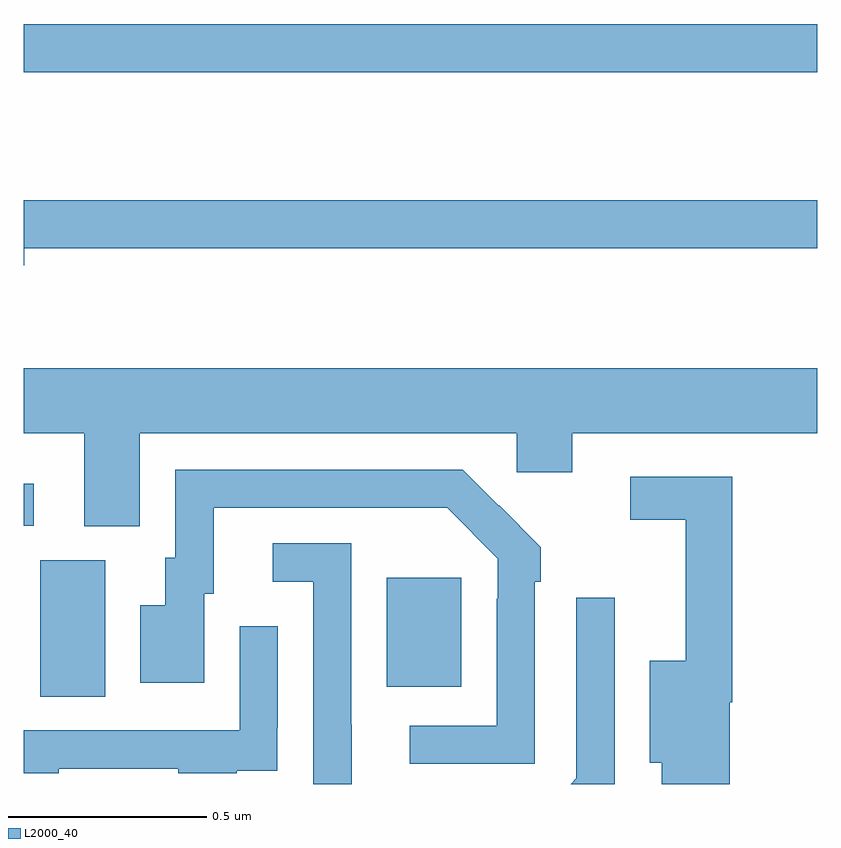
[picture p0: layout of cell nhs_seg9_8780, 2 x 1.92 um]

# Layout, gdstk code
import gdstk
lib = gdstk.Library(unit=1e-6, precision=1e-09)
def R(c, l, rs):  # rectangles x0, y0, x1, y1
    for r in rs: c.add(gdstk.rectangle(r[:2], r[2:], *l))
def P(c, l, *ps):  # polygons
    for p in ps: c.add(gdstk.Polygon(p, *l))
L2000_40 = (2000, 40)

nhs_seg9_8780 = lib.new_cell('nhs_seg9_8780')
R(nhs_seg9_8780, L2000_40, [(221.042,1231.72,221.206,1232.064), (221.915,1231.745,222.103,1232.02), (221,1232.151,221.026,1232.257), (221,1233.294,223,1233.415)])
P(nhs_seg9_8780, L2000_40, [(221.002,1232.85),(223,1232.85),(223,1232.971),(221,1232.971),(221,1232.807),(221.002,1232.807)],
  [(221.293,1232.384),(222.243,1232.384),(222.243,1232.286),(222.382,1232.286),(222.382,1232.384),(223,1232.384),(223,1232.548),(221,1232.548),(221,1232.384),(221.153,1232.384),(221.153,1232.149),(221.293,1232.149)],
  [(222.288,1232.009),(222.303,1232.009),(222.303,1232.097),(222.198,1232.202),(222.197,1232.201),(222.106,1232.292),(221.382,1232.292),(221.382,1232.07),(221.357,1232.07),(221.357,1231.951),(221.294,1231.951),(221.294,1231.755),(221.455,1231.755),(221.455,1231.98),(221.479,1231.98),(221.479,1232.196),(222.067,1232.196),(222.195,1232.067),(222.195,1231.967),(222.192,1231.967),(222.192,1231.647),(221.973,1231.647),(221.973,1231.551),(222.288,1231.551)],
  [(222.779,1231.706),(222.785,1231.706),(222.785,1232.274),(222.528,1232.274),(222.528,1232.166),(222.668,1232.166),(222.668,1231.81),(222.578,1231.81),(222.578,1231.553),(222.608,1231.553),(222.608,1231.5),(222.779,1231.5)],
  [(221.827,1231.649),(221.826,1231.649),(221.826,1232.106),(221.628,1232.106),(221.628,1232.01),(221.73,1232.01),(221.73,1231.5),(221.827,1231.5)],
  [(222.489,1231.969),(222.393,1231.969),(222.393,1231.515),(222.378,1231.5),(222.489,1231.5)],
  [(221.089,1231.539),(221.389,1231.539),(221.389,1231.527),(221.537,1231.527),(221.537,1231.533),(221.639,1231.533),(221.639,1231.642),(221.64,1231.642),(221.64,1231.897),(221.544,1231.897),(221.544,1231.635),(221,1231.635),(221,1231.527),(221.089,1231.527)])

lib.write_gds('nhs_seg9_8780.gds')
